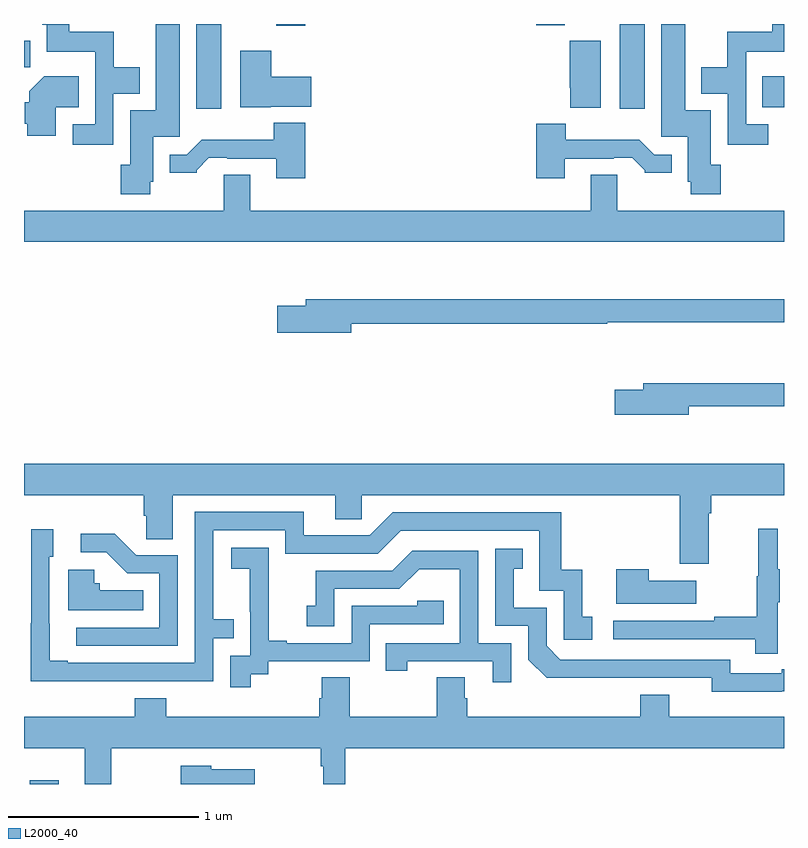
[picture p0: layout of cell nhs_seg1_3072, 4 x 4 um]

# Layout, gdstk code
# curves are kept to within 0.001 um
import gdstk
lib = gdstk.Library(unit=1e-6, precision=1e-09)
def R(c, l, rs):  # rectangles x0, y0, x1, y1
    for r in rs: c.add(gdstk.rectangle(r[:2], r[2:], *l))
def P(c, l, *ps):  # polygons
    for p in ps: c.add(gdstk.Polygon(p, *l))
L2000_40 = (2000, 40)

nhs_seg1_3072 = lib.new_cell('nhs_seg1_3072')
R(nhs_seg1_3072, L2000_40, [(277.031,562.199,277.183,562.219), (277.907,565.752,278.038,566.199), (280.136,565.752,280.267,566.199), (280.885,565.76,281,565.924), (277,565.972,277.033,566.11), (278.327,566.19,278.48,566.199), (279.695,566.192,279.845,566.199)])
P(nhs_seg1_3072, L2000_40, [(277.47,565.832),(277.609,565.832),(277.609,565.972),(277.473,565.972),(277.473,566.158),(277.237,566.158),(277.237,566.199),(277.097,566.199),(277.097,566.196),(277.121,566.196),(277.121,566.054),(277.374,566.054),(277.374,565.671),(277.257,565.671),(277.257,565.563),(277.47,565.563)],
  [(280.918,565.671),(280.8,565.671),(280.8,566.054),(281,566.054),(281,566.199),(280.937,566.199),(280.937,566.158),(280.702,566.158),(280.702,565.972),(280.565,565.972),(280.565,565.832),(280.704,565.832),(280.704,565.563),(280.918,565.563)],
  [(280.667,565.458),(280.615,565.458),(280.615,565.744),(280.48,565.744),(280.48,566.197),(280.355,566.197),(280.355,565.605),(280.493,565.605),(280.493,565.368),(280.51,565.368),(280.51,565.302),(280.667,565.302)],
  [(277.665,565.368),(277.681,565.368),(277.681,565.605),(277.819,565.605),(277.819,566.197),(277.694,566.197),(277.694,565.744),(277.559,565.744),(277.559,565.458),(277.508,565.458),(277.508,565.302),(277.665,565.302)],
  [(280.036,566.11),(279.872,566.11),(279.872,565.864),(279.874,565.864),(279.874,565.757),(280.036,565.757)],
  [(278.298,565.763),(278.512,565.763),(278.512,565.921),(278.302,565.921),(278.302,566.059),(278.138,566.059),(278.138,565.76),(278.298,565.76)],
  [(277.168,565.76),(277.289,565.76),(277.289,565.924),(277.106,565.924),(277.028,565.846),(277.028,565.788),(277.003,565.788),(277.003,565.674),(277.016,565.674),(277.016,565.61),(277.168,565.61)],
  [(278.48,565.678),(278.315,565.678),(278.315,565.591),(277.936,565.591),(277.857,565.512),(277.766,565.512),(277.766,565.415),(277.908,565.415),(277.908,565.43),(277.972,565.494),(278.071,565.494),(278.071,565.491),(278.327,565.491),(278.327,565.386),(278.48,565.386)],
  [(279.847,565.491),(280.103,565.491),(280.103,565.494),(280.202,565.494),(280.266,565.43),(280.266,565.415),(280.408,565.415),(280.408,565.512),(280.317,565.512),(280.239,565.591),(279.85,565.591),(279.85,565.675),(279.695,565.675),(279.695,565.386),(279.847,565.386)],
  [(281,565.216),(280.123,565.216),(280.123,565.406),(279.983,565.406),(279.983,565.216),(278.191,565.216),(278.191,565.406),(278.051,565.406),(278.051,565.216),(277,565.216),(277,565.052),(281,565.052)],
  [(278.722,564.622),(280.071,564.622),(280.071,564.63),(281,564.63),(281,564.751),(278.483,564.751),(278.483,564.717),(278.334,564.717),(278.334,564.575),(278.722,564.575)],
  [(280.498,564.186),(281,564.186),(281,564.307),(280.259,564.307),(280.259,564.273),(280.11,564.273),(280.11,564.143),(280.498,564.143)],
  [(280.603,563.624),(280.616,563.624),(280.616,563.72),(281,563.72),(281,563.884),(277,563.884),(277,563.72),(277.631,563.72),(277.631,563.611),(277.644,563.611),(277.644,563.488),(277.783,563.488),(277.783,563.72),(278.639,563.72),(278.639,563.593),(278.778,563.593),(278.778,563.72),(280.451,563.72),(280.451,563.358),(280.603,563.358)],
  [(277.499,562.74),(277.995,562.74),(277.995,562.965),(278.105,562.965),(278.105,563.066),(277.995,563.066),(277.995,563.535),(278.376,563.535),(278.376,563.412),(278.862,563.412),(278.982,563.532),(279.711,563.532),(279.711,563.217),(279.84,563.217),(279.84,562.959),(279.991,562.959),(279.991,563.079),(279.938,563.079),(279.938,563.326),(279.827,563.326),(279.827,563.628),(278.94,563.628),(278.82,563.508),(278.473,563.508),(278.473,563.631),(277.899,563.631),(277.899,562.836),(277.231,562.836),(277.231,562.849),(277.135,562.849),(277.134,563.394),(277.153,563.394),(277.153,563.539),(277.038,563.539),(277.038,563.045),(277.036,563.045),(277.036,562.739)],
  [(280.967,563.155),(280.978,563.155),(280.978,563.329),(280.967,563.329),(280.967,563.542),(280.864,563.542),(280.864,563.292),(280.857,563.292),(280.857,563.078),(280.633,563.078),(280.633,563.058),(280.101,563.058),(280.101,562.962),(280.849,562.962),(280.849,562.884),(280.967,562.884)],
  [(277.809,563.403),(277.59,563.403),(277.477,563.516),(277.299,563.516),(277.299,563.418),(277.433,563.418),(277.544,563.307),(277.713,563.307),(277.713,563.022),(277.275,563.022),(277.275,562.926),(277.809,562.926)],
  [(278.194,562.777),(278.286,562.777),(278.286,562.845),(278.82,562.845),(278.82,563.04),(279.209,563.04),(279.209,563.163),(279.069,563.163),(279.069,563.136),(278.724,563.136),(278.724,562.941),(278.383,562.941),(278.383,562.954),(278.288,562.954),(278.288,563.237),(278.289,563.237),(278.289,563.443),(278.091,563.443),(278.091,563.333),(278.189,563.333),(278.189,563.105),(278.19,563.105),(278.19,562.875),(278.085,562.875),(278.085,562.707),(278.194,562.707)],
  [(280.988,562.686),(281,562.686),(281,562.802),(280.988,562.802),(280.988,562.782),(280.716,562.782),(280.716,562.854),(279.822,562.854),(279.75,562.926),(279.75,563.127),(279.577,563.127),(279.577,563.331),(279.626,563.331),(279.626,563.437),(279.48,563.437),(279.48,563.031),(279.654,563.031),(279.654,562.854),(279.752,562.757),(280.62,562.758),(280.62,562.685)],
  [(279.564,562.941),(279.39,562.941),(279.39,563.427),(279.044,563.427),(278.939,563.322),(278.536,563.322),(278.536,563.137),(278.487,563.137),(278.487,563.028),(278.634,563.028),(278.634,563.226),(278.976,563.226),(279.08,563.33),(279.294,563.33),(279.294,562.941),(278.905,562.941),(278.905,562.794),(279.016,562.794),(279.016,562.845),(279.467,562.845),(279.467,562.734),(279.564,562.734)],
  [(280.537,563.269),(280.289,563.269),(280.289,563.329),(280.118,563.329),(280.118,563.147),(280.537,563.147)],
  [(277.628,563.218),(277.398,563.218),(277.398,563.256),(277.371,563.256),(277.371,563.326),(277.232,563.326),(277.232,563.114),(277.628,563.114)],
  [(277.459,562.388),(278.562,562.388),(278.562,562.292),(278.574,562.292),(278.574,562.199),(278.69,562.199),(278.69,562.388),(281,562.388),(281,562.552),(280.396,562.552),(280.396,562.669),(280.244,562.669),(280.244,562.552),(279.332,562.552),(279.332,562.65),(279.319,562.65),(279.319,562.76),(279.172,562.76),(279.172,562.552),(278.715,562.552),(278.715,562.76),(278.567,562.76),(278.567,562.65),(278.555,562.65),(278.555,562.552),(277.748,562.552),(277.748,562.651),(277.583,562.651),(277.583,562.552),(277,562.552),(277,562.388),(277.319,562.388),(277.319,562.199),(277.459,562.199)],
  [(278.215,562.276),(277.986,562.276),(277.986,562.294),(277.826,562.294),(277.826,562.199),(278.215,562.199)])

lib.write_gds('nhs_seg1_3072.gds')
